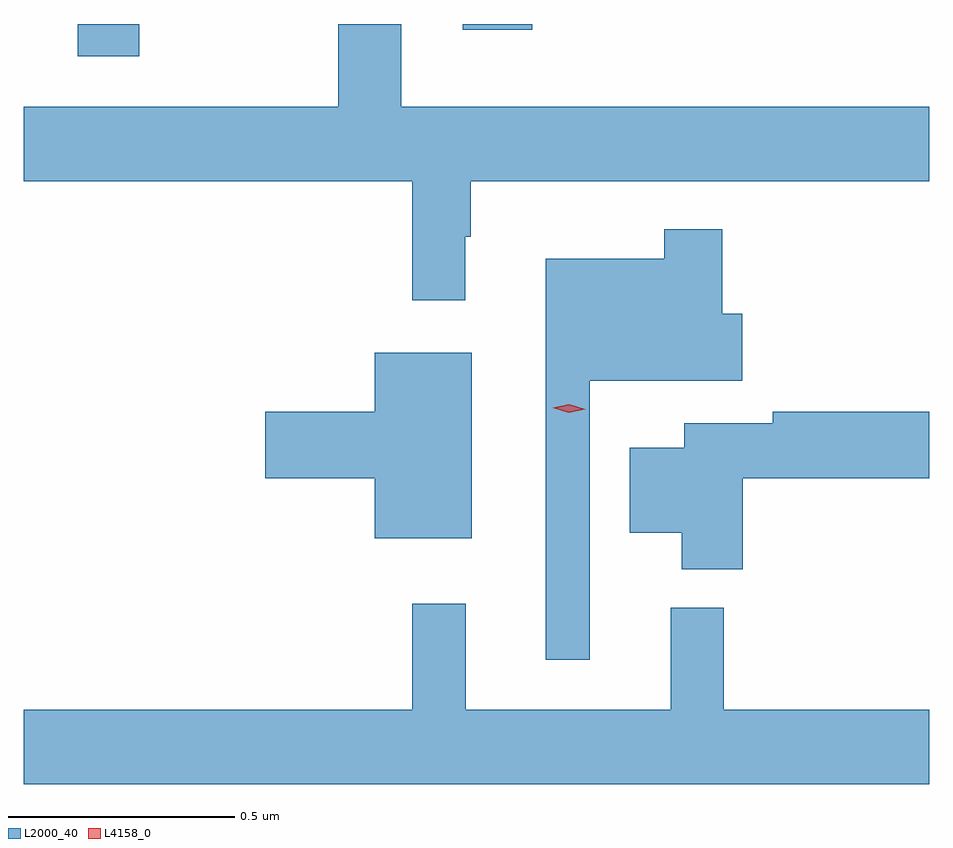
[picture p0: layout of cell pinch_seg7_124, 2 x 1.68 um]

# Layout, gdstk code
import gdstk
lib = gdstk.Library(unit=1e-6, precision=1e-09)
def R(c, l, rs):  # rectangles x0, y0, x1, y1
    for r in rs: c.add(gdstk.rectangle(r[:2], r[2:], *l))
def P(c, l, *ps):  # polygons
    for p in ps: c.add(gdstk.Polygon(p, *l))
L2000_40 = (2000, 40)
L4158_0 = (4158, 0)

pinch_seg7_124 = lib.new_cell('pinch_seg7_124')
R(pinch_seg7_124, L2000_40, [(917.058,1004.888,917.194,1004.959), (917.909,1004.946,918.062,1004.959)])
P(pinch_seg7_124, L2000_40, [(917.914,1004.489),(917.926,1004.489),(917.926,1004.612),(918.939,1004.612),(918.939,1004.776),(917.773,1004.776),(917.773,1004.959),(917.634,1004.959),(917.634,1004.776),(916.939,1004.776),(916.939,1004.612),(917.797,1004.612),(917.797,1004.349),(917.914,1004.349)],
  [(918.189,1004.171),(918.526,1004.171),(918.526,1004.319),(918.482,1004.319),(918.482,1004.506),(918.354,1004.506),(918.354,1004.44),(918.092,1004.44),(918.092,1003.554),(918.189,1003.554)],
  [(917.929,1004.233),(917.714,1004.233),(917.714,1004.102),(917.472,1004.102),(917.472,1003.955),(917.714,1003.955),(917.714,1003.823),(917.929,1003.823)],
  [(918.527,1003.955),(918.939,1003.955),(918.939,1004.102),(918.594,1004.102),(918.594,1004.077),(918.398,1004.077),(918.398,1004.023),(918.278,1004.023),(918.278,1003.835),(918.392,1003.835),(918.392,1003.754),(918.527,1003.754)],
  [(918.939,1003.444),(918.485,1003.444),(918.485,1003.669),(918.368,1003.669),(918.368,1003.444),(917.915,1003.444),(917.915,1003.678),(917.797,1003.678),(917.797,1003.444),(916.939,1003.444),(916.939,1003.28),(918.939,1003.28)])
P(pinch_seg7_124, L4158_0, [(918.143,1004.1),(918.108,1004.111),(918.108,1004.111),(918.108,1004.111),(918.144,1004.119),(918.179,1004.108),(918.179,1004.108),(918.179,1004.108)])

lib.write_gds('pinch_seg7_124.gds')
